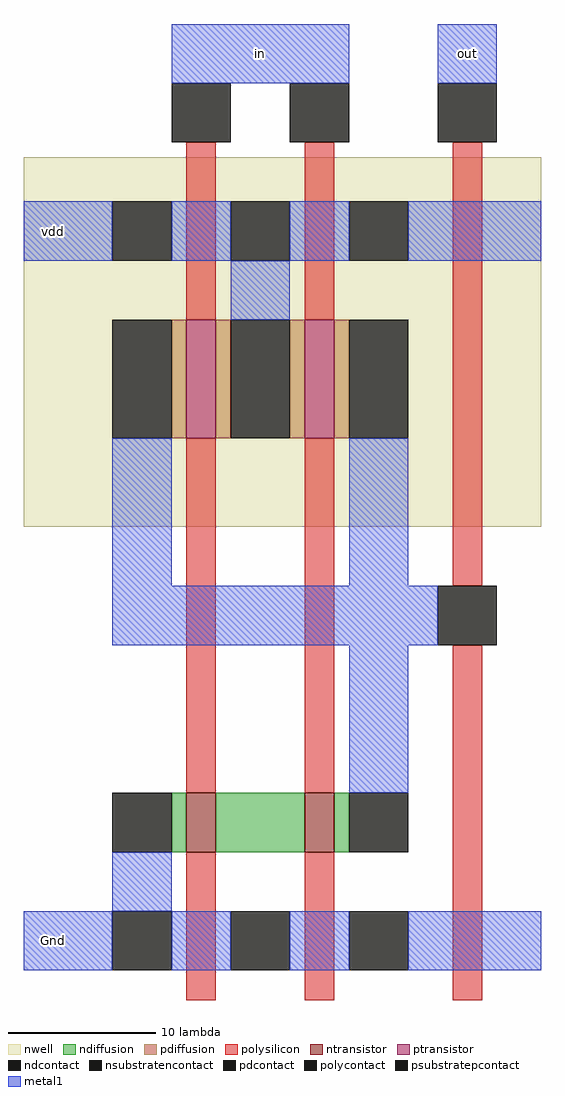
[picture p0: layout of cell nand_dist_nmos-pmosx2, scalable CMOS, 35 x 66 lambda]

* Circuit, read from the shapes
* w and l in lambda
.subckt nand_dist_nmos-pmosx2 Gnd in out vdd
M1 n1 in Gnd Gnd nfet w=4 l=2
M2 out in n1 Gnd nfet w=4 l=2
M3 vdd in out vdd pfet w=8 l=2 m=2
.ends

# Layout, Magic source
magic
tech scmos
<< nwell >>
rect -14 1 21 26
<< ntransistor >>
rect -3 -21 -1 -17
rect 5 -21 7 -17
<< ptransistor >>
rect -3 7 -1 15
rect 5 7 7 15
<< ndiffusion >>
rect -4 -21 -3 -17
rect -1 -21 5 -17
rect 7 -21 8 -17
<< pdiffusion >>
rect -4 7 -3 15
rect -1 7 0 15
rect 4 7 5 15
rect 7 7 8 15
<< ndcontact >>
rect -8 -21 -4 -17
rect 8 -21 12 -17
<< pdcontact >>
rect -8 7 -4 15
rect 0 7 4 15
rect 8 7 12 15
<< psubstratepcontact >>
rect -8 -29 -4 -25
rect 0 -29 4 -25
rect 8 -29 12 -25
<< nsubstratencontact >>
rect -8 19 -4 23
rect 0 19 4 23
rect 8 19 12 23
<< polysilicon >>
rect -3 15 -1 27
rect 5 15 7 27
rect -3 -17 -1 7
rect 5 -17 7 7
rect 15 -3 17 27
rect -3 -31 -1 -21
rect 5 -31 7 -21
rect 15 -31 17 -7
<< polycontact >>
rect -4 27 0 31
rect 4 27 8 31
rect 14 27 18 31
rect 14 -7 18 -3
<< metal1 >>
rect -4 31 8 35
rect 14 31 18 35
rect -14 19 -8 23
rect -4 19 0 23
rect 4 19 8 23
rect 12 19 21 23
rect 0 15 4 19
rect -8 -3 -4 7
rect 8 -3 12 7
rect -8 -7 14 -3
rect 8 -17 12 -7
rect -8 -25 -4 -21
rect -14 -29 -8 -25
rect -4 -29 0 -25
rect 4 -29 8 -25
rect 12 -29 21 -25
<< labels >>
rlabel metal1 14 31 18 35 6 out
rlabel metal1 0 31 4 35 5 in
rlabel metal1 -14 19 -10 23 3 vdd
rlabel metal1 -14 -29 -10 -25 2 Gnd
<< end >>
